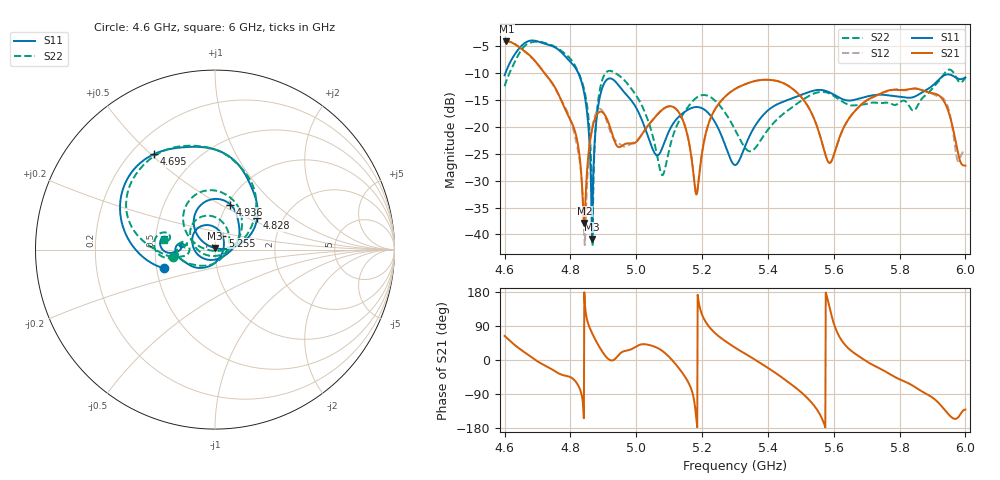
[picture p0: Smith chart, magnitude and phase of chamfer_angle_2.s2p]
! TOUCHSTONE file generated by CST MICROWAVE STUDIO
! Date and time: Sat Nov 30 03:29:14 2024
! Project name: test_tuning.cst
! Parameters = {airCoaxOuterDiameter=3; chamferAngle=37; chamferWidth=24; connectorLength=10; drillingHoleDiameter=4.1; feedLength=60; flareDiameter=130; flareLength=70; gratingDistance=0; gratingGap=1.90274; outletLength=30; polarizerLength=134; probe1Diameter=1.3; probe1Distance=14; probe1Length=1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
! Header version: 2024
! Port assignment regex: !\s*Touchstone port\s*([0-9]+)\s*=\s*(CST MWS port|CST DES external port|CST DES block port)\s*(.+)\s* \(\"(.*)\"\)(\s*mode\s*([0-9]+))?.*
! Touchstone port assignment:
! Touchstone port 1 = CST MWS port 1 ("Input1")
! Touchstone port 2 = CST MWS port 2 ("Input2")
# GHz S MA R 50
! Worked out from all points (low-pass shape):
!   1001 points, 4.6 GHz to 6 GHz, reference 50 ohm
!   highest |S21| = -4.06 dB at 4.606 GHz (marker M1); lowest = -37.9 dB at 4.842 GHz (marker M2)
!   |S21| within 3 dB of the highest: start of sweep to 4.683 GHz
!   lowest |S11| = -40.8 dB at 4.866 GHz (marker M3), VSWR 1.02, Z = 49.8 + j0.886 ohm
!   |S11| at or under -10 dB: start of sweep to 4.602377 GHz; 4.824 GHz to end of sweep
!   |S22| runs from -42.2 to -4.1 dB; largest |S21 - S12| = 0.015
!   S11 on the Smith chart (normalised r, x): 4.6 GHz: 0.55, -0.13; 4.695 GHz: 0.29, +0.51; 4.828 GHz: 1.48, +0.58; 4.936 GHz: 1.03, +0.56; 5.255 GHz: 1.07, +0.17; 6 GHz: 0.56, +0.07
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4.6  0.3022 -159.7  0.6245 63.6  0.6172 63.8  0.2392 -169.8
4.6056  0.3352 -164.3  0.6267 59.1  0.6216 59.6  0.2696 -173.0
4.6952  0.6312 122.5  0.4008 -1.1  0.403 -0.4  0.621 124.8
4.7904  0.4331 65.1  0.1326 -42.6  0.1386 -44.3  0.4601 68.4
4.8282  0.295 37.0  0.05214 -75.5  0.04804 -64.6  0.3009 41.7
4.8338  0.2621 30.9  0.03321 -90.9  0.03346 -72.6  0.2706 37.1
4.8422  0.2035 21.1  0.0128 178.6  0.009448 -125.0  0.2199 29.0
4.866  0.009082 101.7  0.09608 70.5  0.09724 77.0  0.01459 -31.5
4.8926  0.2094 124.0  0.1387 27.7  0.1462 25.0  0.2466 136.1
4.936  0.2653 71.2  0.07134 3.2  0.07501 7.8  0.3175 81.5
5.0172  0.1159 12.0  0.08535 41.5  0.08539 40.5  0.1576 28.5
5.0676  0.05486 -82.8  0.1336 30.3  0.1351 30.5  0.04645 -37.3
5.1362  0.13 165.2  0.1257 -29.3  0.1261 -29.1  0.1229 166.3
5.1824  0.1532 130.0  0.02348 -153.8  0.02397 -155.5  0.1865 134.0
5.2552  0.08823 62.7  0.1707 59.5  0.1715 59.5  0.1558 73.1
5.3  0.04422 -19.1  0.2253 32.8  0.2248 32.8  0.0943 32.5
5.3518  0.09147 -104.6  0.263 5.7  0.2629 5.5  0.0599 -51.0
5.5338  0.2154 -172.5  0.1321 -113.6  0.1322 -113.3  0.2008 -166.9
5.5884  0.2088 171.8  0.04623 135.0  0.0465 134.2  0.2037 171.4
5.7676  0.1962 171.5  0.2188 -35.7  0.2156 -35.5  0.1671 170.8
5.9244  0.285 -178.6  0.1907 -118.6  0.19 -116.1  0.2797 -170.7
6  0.2893 167.8  0.0436 -130.7  0.05606 -139.4  0.2863 169.3
